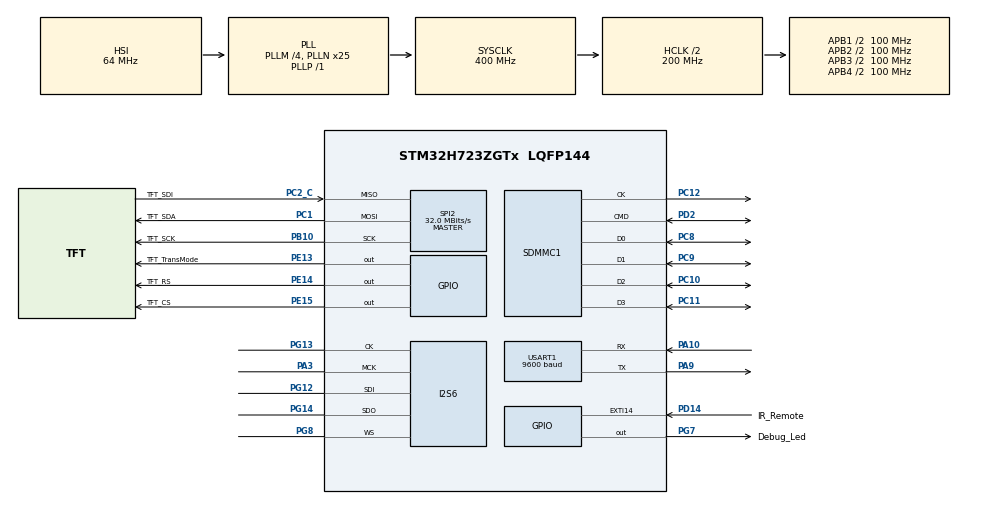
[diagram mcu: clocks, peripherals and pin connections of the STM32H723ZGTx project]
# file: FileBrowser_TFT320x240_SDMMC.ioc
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Bdma.Request0=SPI6_TX
Bdma.RequestsNb=1
Bdma.SPI6_TX.0.Direction=DMA_MEMORY_TO_PERIPH
Bdma.SPI6_TX.0.EventEnable=DISABLE
Bdma.SPI6_TX.0.Instance=BDMA_Channel0
Bdma.SPI6_TX.0.MemDataAlignment=DMA_MDATAALIGN_HALFWORD
Bdma.SPI6_TX.0.MemInc=DMA_MINC_ENABLE
Bdma.SPI6_TX.0.Mode=DMA_CIRCULAR
Bdma.SPI6_TX.0.PeriphDataAlignment=DMA_PDATAALIGN_HALFWORD
Bdma.SPI6_TX.0.PeriphInc=DMA_PINC_DISABLE
Bdma.SPI6_TX.0.Polarity=HAL_DMAMUX_REQ_GEN_RISING
Bdma.SPI6_TX.0.Priority=DMA_PRIORITY_LOW
Bdma.SPI6_TX.0.RequestNumber=1
Bdma.SPI6_TX.0.SignalID=NONE
Bdma.SPI6_TX.0.SyncEnable=DISABLE
Bdma.SPI6_TX.0.SyncPolarity=HAL_DMAMUX_SYNC_NO_EVENT
Bdma.SPI6_TX.0.SyncRequestNumber=1
Bdma.SPI6_TX.0.SyncSignalID=NONE
CORTEX_M7.default_mode_Activation=1
Dma.Request0=SPI2_TX
Dma.Request1=USART1_RX
Dma.SPI2_TX.0.Direction=DMA_MEMORY_TO_PERIPH
Dma.SPI2_TX.0.EventEnable=DISABLE
Dma.SPI2_TX.0.FIFOMode=DMA_FIFOMODE_DISABLE
Dma.SPI2_TX.0.Instance=DMA1_Stream3
Dma.SPI2_TX.0.MemDataAlignment=DMA_MDATAALIGN_BYTE
Dma.SPI2_TX.0.MemInc=DMA_MINC_ENABLE
Dma.SPI2_TX.0.Mode=DMA_NORMAL
Dma.SPI2_TX.0.PeriphDataAlignment=DMA_PDATAALIGN_BYTE
Dma.SPI2_TX.0.PeriphInc=DMA_PINC_DISABLE
Dma.SPI2_TX.0.Polarity=HAL_DMAMUX_REQ_GEN_RISING
Dma.SPI2_TX.0.Priority=DMA_PRIORITY_LOW
Dma.SPI2_TX.0.RequestNumber=1
Dma.SPI2_TX.0.SignalID=NONE
Dma.SPI2_TX.0.SyncEnable=DISABLE
Dma.SPI2_TX.0.SyncPolarity=HAL_DMAMUX_SYNC_NO_EVENT
Dma.SPI2_TX.0.SyncRequestNumber=1
Dma.SPI2_TX.0.SyncSignalID=NONE
Dma.USART1_RX.1.Direction=DMA_PERIPH_TO_MEMORY
Dma.USART1_RX.1.EventEnable=DISABLE
Dma.USART1_RX.1.FIFOMode=DMA_FIFOMODE_DISABLE
Dma.USART1_RX.1.Instance=DMA1_Stream0
Dma.USART1_RX.1.MemDataAlignment=DMA_MDATAALIGN_BYTE
Dma.USART1_RX.1.MemInc=DMA_MINC_ENABLE
Dma.USART1_RX.1.Mode=DMA_NORMAL
Dma.USART1_RX.1.PeriphDataAlignment=DMA_PDATAALIGN_BYTE
Dma.USART1_RX.1.PeriphInc=DMA_PINC_DISABLE
Dma.USART1_RX.1.Polarity=HAL_DMAMUX_REQ_GEN_RISING
Dma.USART1_RX.1.Priority=DMA_PRIORITY_LOW
Dma.USART1_RX.1.RequestNumber=1
Dma.USART1_RX.1.SignalID=NONE
Dma.USART1_RX.1.SyncEnable=DISABLE
Dma.USART1_RX.1.SyncPolarity=HAL_DMAMUX_SYNC_NO_EVENT
Dma.USART1_RX.1.SyncRequestNumber=1
Dma.USART1_RX.1.SyncSignalID=NONE
FATFS._FS_TIMEOUT=0x2710
FATFS._MAX_SS=4096
FATFS._MULTI_PARTITION=0
FATFS._USE_CHMOD=0
FATFS._USE_LABEL=1
FATFS._USE_LFN=3
I2S6.AudioFreq=I2S_AUDIOFREQ_16K
I2S6.ErrorAudioFreq=1.72 %
I2S6.Instance=SPI$Index
I2S6.RealAudioFreq=16.276 KHz
Mcu.Family=STM32H7
Mcu.Name=STM32H723ZGTx
Mcu.Package=LQFP144
NVIC.BDMA_Channel0_IRQn=true\:2\:0\:true\:false\:true\:false\:true\:true
NVIC.DMA1_Stream0_IRQn=true\:0\:0\:false\:false\:true\:false\:true\:true
NVIC.DMA1_Stream3_IRQn=true\:0\:0\:true\:false\:true\:false\:true\:true
NVIC.EXTI15_10_IRQn=true\:1\:0\:true\:false\:true\:true\:true\:true
NVIC.PriorityGroup=NVIC_PRIORITYGROUP_4
NVIC.SDMMC1_IRQn=true\:1\:0\:true\:false\:true\:true\:true\:true
NVIC.SPI2_IRQn=true\:0\:0\:false\:false\:true\:false\:true\:true
NVIC.USART1_IRQn=true\:0\:0\:false\:false\:true\:true\:true\:true
PA10.Mode=Asynchronous
PA10.Signal=USART1_RX
PA13(JTMS/SWDIO).Mode=Serial_Wire
PA13(JTMS/SWDIO).Signal=DEBUG_JTMS-SWDIO
PA14(JTCK/SWCLK).Mode=Serial_Wire
PA14(JTCK/SWCLK).Signal=DEBUG_JTCK-SWCLK
PA3.Mode=Master_Clock_Activated
PA3.Signal=I2S6_MCK
PA9.Mode=Asynchronous
PA9.Signal=USART1_TX
PB10.GPIO_Label=TFT_SCK
PB10.Mode=Full_Duplex_Master
PB10.Signal=SPI2_SCK
PC1.GPIO_Label=TFT_SDA
PC1.Mode=Full_Duplex_Master
PC1.Signal=SPI2_MOSI
PC10.Mode=SD_4_bits_Wide_bus
PC10.Signal=SDMMC1_D2
PC11.Mode=SD_4_bits_Wide_bus
PC11.Signal=SDMMC1_D3
PC12.Mode=SD_4_bits_Wide_bus
PC12.Signal=SDMMC1_CK
PC2_C.GPIO_Label=TFT_SDI
PC2_C.Mode=Full_Duplex_Master
PC2_C.Signal=SPI2_MISO
PC8.Mode=SD_4_bits_Wide_bus
PC8.Signal=SDMMC1_D0
PC9.Mode=SD_4_bits_Wide_bus
PC9.Signal=SDMMC1_D1
PD14.GPIO_Label=IR_Remote
PD14.GPIO_ModeDefaultEXTI=GPIO_MODE_IT_FALLING
PD14.GPIO_PuPd=GPIO_PULLUP
PD14.Signal=GPXTI14
PD2.Mode=SD_4_bits_Wide_bus
PD2.Signal=SDMMC1_CMD
PE13.GPIO_Label=TFT_TransMode
PE13.Signal=GPIO_Output
PE14.GPIO_Label=TFT_RS
PE14.Signal=GPIO_Output
PE15.GPIO_Label=TFT_CS
PE15.Signal=GPIO_Output
PG12.Mode=Full_Duplex_Master
PG12.Signal=I2S6_SDI
PG13.Mode=Full_Duplex_Master
PG13.Signal=I2S6_CK
PG14.Mode=Full_Duplex_Master
PG14.Signal=I2S6_SDO
PG7.GPIO_Label=Debug_Led
PG7.Signal=GPIO_Output
PG8.Mode=Full_Duplex_Master
PG8.Signal=I2S6_WS
PH0-OSC_IN.Mode=HSE-External-Oscillator
PH0-OSC_IN.Signal=RCC_OSC_IN
PH1-OSC_OUT.Mode=HSE-External-Oscillator
PH1-OSC_OUT.Signal=RCC_OSC_OUT
ProjectManager.HeapSize=0x200
ProjectManager.StackSize=0x400
ProjectManager.TargetToolchain=STM32CubeIDE
RCC.ADCFreq_Value=64000000
RCC.APB1Freq_Value=100000000
RCC.APB2Freq_Value=100000000
RCC.APB3Freq_Value=100000000
RCC.APB4Freq_Value=100000000
RCC.CortexFreq_Value=400000000
RCC.D1PPRE=RCC_APB3_DIV2
RCC.D2PPRE1=RCC_APB1_DIV2
RCC.D2PPRE2=RCC_APB2_DIV2
RCC.D3PPRE=RCC_APB4_DIV2
RCC.DIVM1=4
RCC.DIVM2=4
RCC.DIVM3=4
RCC.DIVN1=25
RCC.DIVN2=12
RCC.DIVN3=12
RCC.DIVP1=1
RCC.DIVP2=3
RCC.DIVP3=1
RCC.DIVR2=1
RCC.HCLKFreq_Value=200000000
RCC.HPRE=RCC_HCLK_DIV2
RCC.PLL2FRACN=0
RCC.PLL3FRACN=0
RCC.PLLFRACN=0
RCC.SPI123CLockSelection=RCC_SPI123CLKSOURCE_CLKP
RCC.SYSCLKFreq_VALUE=400000000
RCC.SYSCLKSource=RCC_SYSCLKSOURCE_PLLCLK
RCC.USBFreq_Value=200000000
SDMMC1.ClockDiv=2
SDMMC1.HardwareFlowControl=SDMMC_HARDWARE_FLOW_CONTROL_ENABLE
SDMMC1.TransceiverPresent=SDMMC_TRANSCEIVER_NOT_PRESENT
SPI2.BaudRatePrescaler=SPI_BAUDRATEPRESCALER_2
SPI2.CalculateBaudRate=32.0 MBits/s
SPI2.DataSize=SPI_DATASIZE_8BIT
SPI2.Direction=SPI_DIRECTION_2LINES
SPI2.FirstBit=SPI_FIRSTBIT_MSB
SPI2.Mode=SPI_MODE_MASTER
SPI2.NSSPMode=SPI_NSS_PULSE_DISABLE
SPI2.VirtualType=VM_MASTER
TIM4.Prescaler=216
USART1.BaudRate=9600
USART1.VirtualMode-Asynchronous=VM_ASYNC
VP_FATFS_VS_Generic.Mode=User_defined
VP_FATFS_VS_SDIO.Mode=SDIO
VP_LIBJPEG_VS_JPEGLIB.Mode=Enabled
VP_MEMORYMAP_VS_MEMORYMAP.Mode=CurAppReg
VP_TIM4_VS_ClockSourceINT.Mode=Internal
board=custom

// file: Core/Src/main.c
/* USER CODE BEGIN Header */
/**
 ******************************************************************************
 * @file           : main.c
 * @brief          : Main program body
 ******************************************************************************
 * @attention
 *
 * Copyright (c) 2025 STMicroelectronics.
 * All rights reserved.
 *
 * This software is licensed under terms that can be found in the LICENSE file
 * in the root directory of this software component.
 * If no LICENSE file comes with this software, it is provided AS-IS.
 *
 ******************************************************************************
 */
/* USER CODE END Header */
#include "main.h"
#include "fatfs.h"
#include "libjpeg.h"

/* USER CODE BEGIN Includes */
#include "display.h"
//#include "jpeg_lcd.h"
#include "sdio_benchmark.h"
#include "sdio_functions.h"
#include "wav_player.h"
#include "itr.h"
/* USER CODE END Includes */

I2S_HandleTypeDef hi2s6;
DMA_HandleTypeDef hdma_spi6_tx;

SD_HandleTypeDef hsd1;

SPI_HandleTypeDef hspi2;
DMA_HandleTypeDef hdma_spi2_tx;

TIM_HandleTypeDef htim4;

UART_HandleTypeDef huart1;
DMA_HandleTypeDef hdma_usart1_rx;

/* USER CODE BEGIN PV */
//For File browser and UART
uint8_t firmware_data[1024];
volatile uint8_t FileSelection = 0;
SDFile_Info FileListTree;
SDFile_Info *Current_Page;
//For image display
UINT br;
uint8_t image_id = 0;
volatile uint8_t IsPlayingContent = 0;
char path[256];
char SDFullName[256];
//For IR Remote control
uint32_t tempCode;
uint8_t bitIndex;
uint8_t cmd;
uint8_t cmdli;
uint32_t code;

/* USER CODE END PV */

void SystemClock_Config(void);
void PeriphCommonClock_Config(void);
static void MPU_Config(void);
static void MX_GPIO_Init(void);
static void MX_DMA_Init(void);
static void MX_BDMA_Init(void);
static void MX_SPI2_Init(void);
static void MX_USART1_UART_Init(void);
static void MX_I2S6_Init(void);
static void MX_TIM4_Init(void);
static void MX_SDMMC1_SD_Init(void);
/* USER CODE BEGIN PFP */
static void IR_Control(uint32_t Ir_code);
/* USER CODE END PFP */

/* USER CODE BEGIN 0 */

int _write(int fd, unsigned char *buf, int len) {
	if (fd == 1 || fd == 2) {                              // stdout or stderr ?
		HAL_UART_Transmit(&huart1, buf, len, 999); // Print to the UART
	}
	return len;
}

// GPIO EXTI callbacks
void HAL_GPIO_EXTI_Callback(uint16_t GPIO_Pin) {
	UNUSED(GPIO_Pin);
	if (GPIO_Pin == IR_Remote_Pin) {
		if (__HAL_TIM_GET_COUNTER(&htim4) > 8000) {
			tempCode = 0;
			bitIndex = 0;
		} else if (__HAL_TIM_GET_COUNTER(&htim4) > 1700) {
			tempCode |= (1UL << (31 - bitIndex)); // write 1
			bitIndex++;
		} else if (__HAL_TIM_GET_COUNTER(&htim4) > 1000) {
			tempCode &= ~(1UL << (31 - bitIndex)); // write 0
			bitIndex++;
		}
		if (bitIndex == 32) {
			cmdli = ~tempCode;   // Logical inverted last 8 bits
			cmd = tempCode >> 8; // Second last 8 bits
			if (cmdli == cmd)    // Check for errors
					{
				code = tempCode; // If no bit errors
				// Do your main work HERE
				IR_Control(code);
			}
			bitIndex = 0;
		}
		__HAL_TIM_SET_COUNTER(&htim4, 0);
	}
}
// UART callbacks
void HAL_UARTEx_RxEventCallback(UART_HandleTypeDef *huart, uint16_t Size) {
	memset(firmware_data, 0, 1024);
	HAL_UARTEx_ReceiveToIdle_IT(&huart1, firmware_data, 1024);
}

/* USER CODE END 0 */

int main(void)
{

  /* USER CODE BEGIN 1 */
	FIL video_f;

  /* USER CODE END 1 */

  /* MPU Configuration--------------------------------------------------------*/
  MPU_Config();

  /* MCU Configuration--------------------------------------------------------*/

  /* Reset of all peripherals, Initializes the Flash interface and the Systick. */
  HAL_Init();

  /* Configure the system clock */
  SystemClock_Config();

  /* Configure the peripherals common clocks */
  PeriphCommonClock_Config();

  /* Initialize all configured peripherals */
  MX_GPIO_Init();
  MX_DMA_Init();
  MX_BDMA_Init();
  MX_FATFS_Init();
  MX_SPI2_Init();
  MX_LIBJPEG_Init();
  MX_USART1_UART_Init();
  MX_I2S6_Init();
  MX_TIM4_Init();
  MX_SDMMC1_SD_Init();
  /* USER CODE BEGIN 2 */
	// System peripheral
	HAL_TIM_Base_Start(&htim4);
	__HAL_TIM_SET_COUNTER(&htim4, 0);
	HAL_UARTEx_ReceiveToIdle_IT(&huart1, firmware_data, 1024);
	// User playground
	// For display
	LCD_Init(&hspi2, &IsPlayingContent, 1);
	LCD_AdjustGamma();
	LCD_FillScreen(0x0000, 320, 240);
#define IDLEx
	// For SD card

	while (1) {
		if (sdio_mount() == FR_OK) {
			break;
		}
	}
	HAL_Delay(2000);
	IsPlayingContent = 0;

	sdio_list_files(&FileListTree);
    //print_directory(FileListTree.Directory_Ptr, 0, FileListTree.childCount);
	Itr_InitI2SCBFunc(Audio_I2S_TxHalfCb, Audio_I2S_TxCpltCb);
	LCD_DisplayBMP("0:/image/image2_rgb888_320x240.bmp");

#ifndef IDLEx
	Itr_InitI2SCBFunc(Audio_I2S_TxHalfCb, Audio_I2S_TxCpltCb);
	Itr_InitSPICBFunc(LCD_SPI_TxCpltCb, LCD_SPI_TxRxCpltCb);
//	 For File browser
	/*Point to root page*/

	memset(path,0,256);
	memset(SDFullName,0,256);
	strcat(path,"0:/");

	Current_Page = FileListTree.Directory_Ptr;
	Browser_Init(&Current_Page);

#endif
  /* USER CODE END 2 */

  /* Infinite loop */
  /* USER CODE BEGIN WHILE */
	while (1) {
#ifdef IDLE
		if(IsPlayingContent){

			if (Current_Page[FileSelection].format == emJPG) {
				sprintf(SDFullName,"%s/%s",path,Current_Page[FileSelection].name);
				printf("Jpg image file path: %s\n",SDFullName);
				LCD_DisplayJPEG(SDFullName);
				while(IsPlayingContent);
			} else if (Current_Page[FileSelection].format == emBMP) {
				sprintf(SDFullName,"%s/%s",path,Current_Page[FileSelection].name);
				printf("BMP file path: %s\n",SDFullName);
				LCD_DisplayBMP(SDFullName);
				while(IsPlayingContent);
			} else if (Current_Page[FileSelection].format == emWAV) {
				sprintf(SDFullName,"%s/%s",path,Current_Page[FileSelection].name);
				printf("Wav file path: %s\n",SDFullName);
				Audio_Init(&hi2s6, &IsPlayingContent);
				wav_start_play(SDFullName);
				while(IsPlayingContent);
			} else if (Current_Page[FileSelection].format == emRGB) {
				sprintf(SDFullName,"%s/%s",path,Current_Page[FileSelection].name);
				printf("Raw video file path: %s\n",SDFullName);
				LCD_PlayRawVideo(SDFullName);
				while(IsPlayingContent);
				LCD_Init(&hspi2, &IsPlayingContent, 1);
				LCD_AdjustGamma();
				Browser_FileCtrl(IR_EQ, FileSelection);
			} else if (Current_Page[FileSelection].format == emAVI) {
				sprintf(SDFullName,"%s/%s",path,Current_Page[FileSelection].name);
				printf("AVI file path: %s\n",SDFullName);
				Audio_Init(&hi2s6, &IsPlayingContent);
				LCD_PlayAVIVideo(SDFullName);
				while(IsPlayingContent);
				LCD_Init(&hspi2, &IsPlayingContent, 1);
				LCD_AdjustGamma();
				Browser_FileCtrl(IR_EQ, FileSelection);
			} else if (Current_Page[FileSelection].format == emMP3) {
				sprintf(SDFullName,"%s/%s",path,Current_Page[FileSelection].name);
				printf("MP3 file path: %s\n",SDFullName);
				Audio_Init(&hi2s6, &IsPlayingContent);
				mp3_start_play(SDFullName);
				while(IsPlayingContent);
				Browser_FileCtrl(IR_EQ, FileSelection);
			} else if (Current_Page[FileSelection].format == emFolder) {
				printf("Folder path: %s/%s \n",path, Current_Page[FileSelection].name);
				IsPlayingContent = 0;
				if(Current_Page[FileSelection].Directory_Ptr != NULL){
					size_t s = Current_Page[FileSelection].childCount;
					strcat(path,"/");
					strcat(path,Current_Page[FileSelection].name);
					printf("New Folder path: %s\n", path);
					Current_Page = Current_Page[FileSelection].Directory_Ptr;
					Current_Page->Previous_Ptr->childCount = s;
					FileSelection = 0;
					Browser_Init(&Current_Page);
					Browser_FileCtrl(IR_None, FileSelection);

				}
				else{
					printf("Folder is empty\n");
					Browser_FileCtrl(IR_BadCode, FileSelection);
				}

			}
		}
#endif
    /* USER CODE END WHILE */

	}
}

void SystemClock_Config(void)
{
  RCC_OscInitTypeDef RCC_OscInitStruct = {0};
  RCC_ClkInitTypeDef RCC_ClkInitStruct = {0};

  /** Supply configuration update enable
  */
  HAL_PWREx_ConfigSupply(PWR_LDO_SUPPLY);

  /** Configure the main internal regulator output voltage
  */
  __HAL_PWR_VOLTAGESCALING_CONFIG(PWR_REGULATOR_VOLTAGE_SCALE1);

  while(!__HAL_PWR_GET_FLAG(PWR_FLAG_VOSRDY)) {}

  /** Initializes the RCC Oscillators according to the specified parameters
  * in the RCC_OscInitTypeDef structure.
  */
  RCC_OscInitStruct.OscillatorType = RCC_OSCILLATORTYPE_HSI;
  RCC_OscInitStruct.HSIState = RCC_HSI_DIV1;
  RCC_OscInitStruct.HSICalibrationValue = 64;
  RCC_OscInitStruct.PLL.PLLState = RCC_PLL_ON;
  RCC_OscInitStruct.PLL.PLLSource = RCC_PLLSOURCE_HSI;
  RCC_OscInitStruct.PLL.PLLM = 4;
  RCC_OscInitStruct.PLL.PLLN = 25;
  RCC_OscInitStruct.PLL.PLLP = 1;
  RCC_OscInitStruct.PLL.PLLQ = 2;
  RCC_OscInitStruct.PLL.PLLR = 2;
  RCC_OscInitStruct.PLL.PLLRGE = RCC_PLL1VCIRANGE_3;
  RCC_OscInitStruct.PLL.PLLVCOSEL = RCC_PLL1VCOWIDE;
  RCC_OscInitStruct.PLL.PLLFRACN = 0;
  if (HAL_RCC_OscConfig(&RCC_OscInitStruct) != HAL_OK)
  {
    Error_Handler();
  }

  /** Initializes the CPU, AHB and APB buses clocks
  */
  RCC_ClkInitStruct.ClockType = RCC_CLOCKTYPE_HCLK|RCC_CLOCKTYPE_SYSCLK
                              |RCC_CLOCKTYPE_PCLK1|RCC_CLOCKTYPE_PCLK2
                              |RCC_CLOCKTYPE_D3PCLK1|RCC_CLOCKTYPE_D1PCLK1;
  RCC_ClkInitStruct.SYSCLKSource = RCC_SYSCLKSOURCE_PLLCLK;
  RCC_ClkInitStruct.SYSCLKDivider = RCC_SYSCLK_DIV1;
  RCC_ClkInitStruct.AHBCLKDivider = RCC_HCLK_DIV2;
  RCC_ClkInitStruct.APB3CLKDivider = RCC_APB3_DIV2;
  RCC_ClkInitStruct.APB1CLKDivider = RCC_APB1_DIV2;
  RCC_ClkInitStruct.APB2CLKDivider = RCC_APB2_DIV2;
  RCC_ClkInitStruct.APB4CLKDivider = RCC_APB4_DIV2;

  if (HAL_RCC_ClockConfig(&RCC_ClkInitStruct, FLASH_LATENCY_2) != HAL_OK)
  {
    Error_Handler();
  }
}

void PeriphCommonClock_Config(void)
{
  RCC_PeriphCLKInitTypeDef PeriphClkInitStruct = {0};

  /** Initializes the peripherals clock
  */
  PeriphClkInitStruct.PeriphClockSelection = RCC_PERIPHCLK_CKPER;
  PeriphClkInitStruct.CkperClockSelection = RCC_CLKPSOURCE_HSI;
  if (HAL_RCCEx_PeriphCLKConfig(&PeriphClkInitStruct) != HAL_OK)
  {
    Error_Handler();
  }
}

static void MX_I2S6_Init(void)
{

  hi2s6.Instance = SPI6;
  hi2s6.Init.Mode = I2S_MODE_MASTER_FULLDUPLEX;
  hi2s6.Init.Standard = I2S_STANDARD_PHILIPS;
  hi2s6.Init.DataFormat = I2S_DATAFORMAT_16B;
  hi2s6.Init.MCLKOutput = I2S_MCLKOUTPUT_ENABLE;
  hi2s6.Init.AudioFreq = I2S_AUDIOFREQ_16K;
  hi2s6.Init.CPOL = I2S_CPOL_LOW;
  hi2s6.Init.FirstBit = I2S_FIRSTBIT_MSB;
  hi2s6.Init.WSInversion = I2S_WS_INVERSION_DISABLE;
  hi2s6.Init.Data24BitAlignment = I2S_DATA_24BIT_ALIGNMENT_RIGHT;
  hi2s6.Init.MasterKeepIOState = I2S_MASTER_KEEP_IO_STATE_DISABLE;
  if (HAL_I2S_Init(&hi2s6) != HAL_OK)
  {
    Error_Handler();
  }

}

static void MX_SDMMC1_SD_Init(void)
{

  hsd1.Instance = SDMMC1;
  hsd1.Init.ClockEdge = SDMMC_CLOCK_EDGE_RISING;
  hsd1.Init.ClockPowerSave = SDMMC_CLOCK_POWER_SAVE_DISABLE;
  hsd1.Init.BusWide = SDMMC_BUS_WIDE_4B;
  hsd1.Init.HardwareFlowControl = SDMMC_HARDWARE_FLOW_CONTROL_ENABLE;
  hsd1.Init.ClockDiv = 2;
  if (HAL_SD_Init(&hsd1) != HAL_OK)
  {
    Error_Handler();
  }

}

static void MX_SPI2_Init(void)
{

  /* SPI2 parameter configuration*/
  hspi2.Instance = SPI2;
  hspi2.Init.Mode = SPI_MODE_MASTER;
  hspi2.Init.Direction = SPI_DIRECTION_2LINES;
  hspi2.Init.DataSize = SPI_DATASIZE_8BIT;
  hspi2.Init.CLKPolarity = SPI_POLARITY_LOW;
  hspi2.Init.CLKPhase = SPI_PHASE_1EDGE;
  hspi2.Init.NSS = SPI_NSS_SOFT;
  hspi2.Init.BaudRatePrescaler = SPI_BAUDRATEPRESCALER_2;
  hspi2.Init.FirstBit = SPI_FIRSTBIT_MSB;
  hspi2.Init.TIMode = SPI_TIMODE_DISABLE;
  hspi2.Init.CRCCalculation = SPI_CRCCALCULATION_DISABLE;
  hspi2.Init.CRCPolynomial = 0x0;
  hspi2.Init.NSSPMode = SPI_NSS_PULSE_DISABLE;
  hspi2.Init.NSSPolarity = SPI_NSS_POLARITY_LOW;
  hspi2.Init.FifoThreshold = SPI_FIFO_THRESHOLD_01DATA;
  hspi2.Init.TxCRCInitializationPattern = SPI_CRC_INITIALIZATION_ALL_ZERO_PATTERN;
  hspi2.Init.RxCRCInitializationPattern = SPI_CRC_INITIALIZATION_ALL_ZERO_PATTERN;
  hspi2.Init.MasterSSIdleness = SPI_MASTER_SS_IDLENESS_00CYCLE;
  hspi2.Init.MasterInterDataIdleness = SPI_MASTER_INTERDATA_IDLENESS_00CYCLE;
  hspi2.Init.MasterReceiverAutoSusp = SPI_MASTER_RX_AUTOSUSP_DISABLE;
  hspi2.Init.MasterKeepIOState = SPI_MASTER_KEEP_IO_STATE_DISABLE;
  hspi2.Init.IOSwap = SPI_IO_SWAP_DISABLE;
  if (HAL_SPI_Init(&hspi2) != HAL_OK)
  {
    Error_Handler();
  }

}

static void MX_TIM4_Init(void)
{

  TIM_ClockConfigTypeDef sClockSourceConfig = {0};
  TIM_MasterConfigTypeDef sMasterConfig = {0};

  htim4.Instance = TIM4;
  htim4.Init.Prescaler = 216;
  htim4.Init.CounterMode = TIM_COUNTERMODE_UP;
  htim4.Init.Period = 65535;
  htim4.Init.ClockDivision = TIM_CLOCKDIVISION_DIV1;
  htim4.Init.AutoReloadPreload = TIM_AUTORELOAD_PRELOAD_DISABLE;
  if (HAL_TIM_Base_Init(&htim4) != HAL_OK)
  {
    Error_Handler();
  }
  sClockSourceConfig.ClockSource = TIM_CLOCKSOURCE_INTERNAL;
  if (HAL_TIM_ConfigClockSource(&htim4, &sClockSourceConfig) != HAL_OK)
  {
    Error_Handler();
  }
  sMasterConfig.MasterOutputTrigger = TIM_TRGO_RESET;
  sMasterConfig.MasterSlaveMode = TIM_MASTERSLAVEMODE_DISABLE;
  if (HAL_TIMEx_MasterConfigSynchronization(&htim4, &sMasterConfig) != HAL_OK)
  {
    Error_Handler();
  }

}

static void MX_USART1_UART_Init(void)
{

  huart1.Instance = USART1;
  huart1.Init.BaudRate = 9600;
  huart1.Init.WordLength = UART_WORDLENGTH_8B;
  huart1.Init.StopBits = UART_STOPBITS_1;
  huart1.Init.Parity = UART_PARITY_NONE;
  huart1.Init.Mode = UART_MODE_TX_RX;
  huart1.Init.HwFlowCtl = UART_HWCONTROL_NONE;
  huart1.Init.OverSampling = UART_OVERSAMPLING_16;
  huart1.Init.OneBitSampling = UART_ONE_BIT_SAMPLE_DISABLE;
  huart1.Init.ClockPrescaler = UART_PRESCALER_DIV1;
  huart1.AdvancedInit.AdvFeatureInit = UART_ADVFEATURE_NO_INIT;
  if (HAL_UART_Init(&huart1) != HAL_OK)
  {
    Error_Handler();
  }
  if (HAL_UARTEx_SetTxFifoThreshold(&huart1, UART_TXFIFO_THRESHOLD_1_8) != HAL_OK)
  {
    Error_Handler();
  }
  if (HAL_UARTEx_SetRxFifoThreshold(&huart1, UART_RXFIFO_THRESHOLD_1_8) != HAL_OK)
  {
    Error_Handler();
  }
  if (HAL_UARTEx_DisableFifoMode(&huart1) != HAL_OK)
  {
    Error_Handler();
  }

}

static void MX_BDMA_Init(void)
{

  /* DMA controller clock enable */
  __HAL_RCC_BDMA_CLK_ENABLE();

  /* DMA interrupt init */
  /* BDMA_Channel0_IRQn interrupt configuration */
  HAL_NVIC_SetPriority(BDMA_Channel0_IRQn, 2, 0);
  HAL_NVIC_EnableIRQ(BDMA_Channel0_IRQn);

}

static void MX_DMA_Init(void)
{

  /* DMA controller clock enable */
  __HAL_RCC_DMA1_CLK_ENABLE();

  /* DMA interrupt init */
  /* DMA1_Stream0_IRQn interrupt configuration */
  HAL_NVIC_SetPriority(DMA1_Stream0_IRQn, 0, 0);
  HAL_NVIC_EnableIRQ(DMA1_Stream0_IRQn);
  /* DMA1_Stream3_IRQn interrupt configuration */
  HAL_NVIC_SetPriority(DMA1_Stream3_IRQn, 0, 0);
  HAL_NVIC_EnableIRQ(DMA1_Stream3_IRQn);

}

static void MX_GPIO_Init(void)
{
  GPIO_InitTypeDef GPIO_InitStruct = {0};

  /* GPIO Ports Clock Enable */
  __HAL_RCC_GPIOH_CLK_ENABLE();
  __HAL_RCC_GPIOC_CLK_ENABLE();
  __HAL_RCC_GPIOA_CLK_ENABLE();
  __HAL_RCC_GPIOE_CLK_ENABLE();
  __HAL_RCC_GPIOB_CLK_ENABLE();
  __HAL_RCC_GPIOD_CLK_ENABLE();
  __HAL_RCC_GPIOG_CLK_ENABLE();

  /*Configure GPIO pin Output Level */
  HAL_GPIO_WritePin(GPIOE, TFT_TransMode_Pin|TFT_RS_Pin|TFT_CS_Pin, GPIO_PIN_RESET);

  /*Configure GPIO pin Output Level */
  HAL_GPIO_WritePin(Debug_Led_GPIO_Port, Debug_Led_Pin, GPIO_PIN_RESET);

  /*Configure GPIO pins : TFT_TransMode_Pin TFT_RS_Pin TFT_CS_Pin */
  GPIO_InitStruct.Pin = TFT_TransMode_Pin|TFT_RS_Pin|TFT_CS_Pin;
  GPIO_InitStruct.Mode = GPIO_MODE_OUTPUT_PP;
  GPIO_InitStruct.Pull = GPIO_NOPULL;
  GPIO_InitStruct.Speed = GPIO_SPEED_FREQ_LOW;
  HAL_GPIO_Init(GPIOE, &GPIO_InitStruct);

  /*Configure GPIO pin : IR_Remote_Pin */
  GPIO_InitStruct.Pin = IR_Remote_Pin;
  GPIO_InitStruct.Mode = GPIO_MODE_IT_FALLING;
  GPIO_InitStruct.Pull = GPIO_PULLUP;
  HAL_GPIO_Init(IR_Remote_GPIO_Port, &GPIO_InitStruct);

  /*Configure GPIO pin : Debug_Led_Pin */
  GPIO_InitStruct.Pin = Debug_Led_Pin;
  GPIO_InitStruct.Mode = GPIO_MODE_OUTPUT_PP;
  GPIO_InitStruct.Pull = GPIO_NOPULL;
  GPIO_InitStruct.Speed = GPIO_SPEED_FREQ_LOW;
  HAL_GPIO_Init(Debug_Led_GPIO_Port, &GPIO_InitStruct);

  /* EXTI interrupt init*/
  HAL_NVIC_SetPriority(IR_Remote_EXTI_IRQn, 1, 0);
  HAL_NVIC_EnableIRQ(IR_Remote_EXTI_IRQn);

}

/* USER CODE BEGIN 4 */
void IR_Control(uint32_t Ir_code) {

	switch (Ir_code) {
	case IR_CH_Minus:
		break;
	case IR_CH:
		break;
	case IR_CH_Plus:
		break;
	case IR_Prev:
		break;
	case IR_Next:
		break;
	case IR_Play_Pause: //Enter
		Browser_FileCtrl(IR_Play_Pause, FileSelection);
		IsPlayingContent = 1;
		break;
	case IR_Plus:
		FileSelection++;
		Browser_FileCtrl(IR_Plus, FileSelection);
		break;
	case IR_Minus:
		if (FileSelection > 0) {
			FileSelection--;
			Browser_FileCtrl(IR_Minus, FileSelection);
		}
		break;
	case IR_EQ: //Back
		if (IsPlayingContent == 0) {
			Back2PrevFolder(&Current_Page, &FileListTree, path);
		}
		printf("Back: %s\n", Current_Page->name);
		IsPlayingContent = 0;
		Browser_FileCtrl(IR_EQ, FileSelection);
		break;
	case IR_0:
		break;
	case IR_100_Plus:
		FileSelection = 18;
		Browser_FileCtrl(IR_100_Plus, FileSelection);
		break;
	case IR_200_Plus:
		break;
	case IR_1:
		break;
	case IR_2:
		break;
	case IR_3:
		break;
	case IR_4:
		break;
	case IR_5:
		break;
	case IR_6:
		break;
	case IR_7:
		break;
	case IR_8:
		break;
	case IR_9:
		break;
	default:
		break;
	}
}
/* USER CODE END 4 */

 /* MPU Configuration */

void MPU_Config(void)
{
  MPU_Region_InitTypeDef MPU_InitStruct = {0};

  /* Disables the MPU */
  HAL_MPU_Disable();

  /** Initializes and configures the Region and the memory to be protected
  */
  MPU_InitStruct.Enable = MPU_REGION_ENABLE;
  MPU_InitStruct.Number = MPU_REGION_NUMBER0;
  MPU_InitStruct.BaseAddress = 0x0;
  MPU_InitStruct.Size = MPU_REGION_SIZE_4GB;
  MPU_InitStruct.SubRegionDisable = 0x87;
  MPU_InitStruct.TypeExtField = MPU_TEX_LEVEL0;
  MPU_InitStruct.AccessPermission = MPU_REGION_NO_ACCESS;
  MPU_InitStruct.DisableExec = MPU_INSTRUCTION_ACCESS_DISABLE;
  MPU_InitStruct.IsShareable = MPU_ACCESS_SHAREABLE;
  MPU_InitStruct.IsCacheable = MPU_ACCESS_NOT_CACHEABLE;
  MPU_InitStruct.IsBufferable = MPU_ACCESS_NOT_BUFFERABLE;

  HAL_MPU_ConfigRegion(&MPU_InitStruct);
  /* Enables the MPU */
  HAL_MPU_Enable(MPU_PRIVILEGED_DEFAULT);

}

void Error_Handler(void)
{
	__disable_irq();
	while (1) {
	}
}
